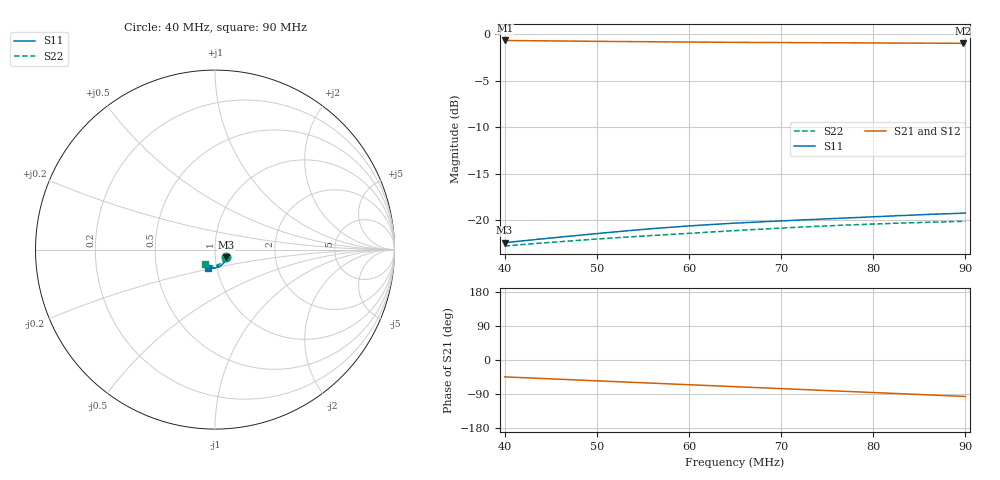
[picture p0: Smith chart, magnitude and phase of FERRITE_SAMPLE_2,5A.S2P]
!Agilent Technologies,E5061B,MY49102235,A.02.00
!Date: Mon Jul 03 10:34:00 2023
!Data & Calibration Information:
!Freq	S11:SOLT2(ON)	S21:SOLT2(ON)	S12:SOLT2(ON)	S22:SOLT2(ON)
# Hz S RI R 50
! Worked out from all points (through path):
!   1600 points, 40 MHz to 90 MHz, reference 50 ohm
!   highest |S21| = -0.66 dB at 40.03 MHz (marker M1); lowest = -1.0 dB at 89.78 MHz (marker M2)
!   group delay of S21, straight-line fit = 2.87 ns
!   lowest |S11| = -22.4 dB at 40 MHz (marker M3), VSWR 1.16, Z = 56.6 - j4.6 ohm
!   |S11| at or under -10 dB: start of sweep to end of sweep
!   |S22| runs from -22.8 to -20.1 dB; largest |S21 - S12| = 0.0012
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4e7  0.0639 -0.0404  0.6605 -0.6496  0.6606 -0.6487  0.0586 -0.0426
4.003127e7  0.0639 -0.0405  0.6603 -0.65  0.6603 -0.649  0.0587 -0.0426
4.109443e7  0.0634 -0.0429  0.6466 -0.6617  0.6468 -0.661  0.0578 -0.0452
4.453408e7  0.0611 -0.0511  0.6015 -0.6985  0.6019 -0.6978  0.054 -0.0531
4.834897e7  0.0574 -0.0603  0.5497 -0.7353  0.55 -0.735  0.0487 -0.0611
5.23202e7  0.052 -0.0694  0.4934 -0.7702  0.4934 -0.7696  0.0418 -0.0687
5.482176e7  0.0481 -0.0748  0.457 -0.7897  0.4573 -0.7896  0.037 -0.0731
5.666667e7  0.0448 -0.0787  0.4299 -0.8032  0.43 -0.8028  0.0332 -0.076
6.066917e7  0.037 -0.086  0.3699 -0.8294  0.3701 -0.8288  0.0243 -0.0817
6.273296e7  0.0326 -0.0891  0.3384 -0.8413  0.3387 -0.8409  0.0194 -0.0843
6.501563e7  0.0273 -0.0924  0.3031 -0.853  0.3034 -0.8524  0.0137 -0.0868
6.914321e7  0.0175 -0.0971  0.2389 -0.871  0.239 -0.8703  0.00273 -0.0901
7.161351e7  0.011 -0.0992  0.1997 -0.8797  0.1997 -0.879  -0.00414 -0.0914
7.33646e7  0.00628 -0.1007  0.1717 -0.885  0.1722 -0.884  -0.00907 -0.0918
7.564728e7  0.000278 -0.1019  0.1349 -0.8901  0.1355 -0.8894  -0.0154 -0.0921
7.752345e7  -0.00478 -0.1027  0.1045 -0.8932  0.1053 -0.8929  -0.0207 -0.0919
7.946216e7  -0.00995 -0.1035  0.0732 -0.8958  0.0739 -0.8953  -0.0261 -0.0914
8.16823e7  -0.016 -0.1039  0.0372 -0.8969  0.0379 -0.8966  -0.0323 -0.0903
8.358974e7  -0.021 -0.104  0.00636 -0.897  0.0069 -0.8969  -0.0374 -0.0891
8.596623e7  -0.0274 -0.1039  -0.032 -0.8956  -0.0318 -0.8953  -0.0435 -0.0871
8.978111e7  -0.0374 -0.1026  -0.0933 -0.8896  -0.0931 -0.8895  -0.0531 -0.0831
9e7  -0.038 -0.1024  -0.0967 -0.8894  -0.0967 -0.8891  -0.0537 -0.0828
